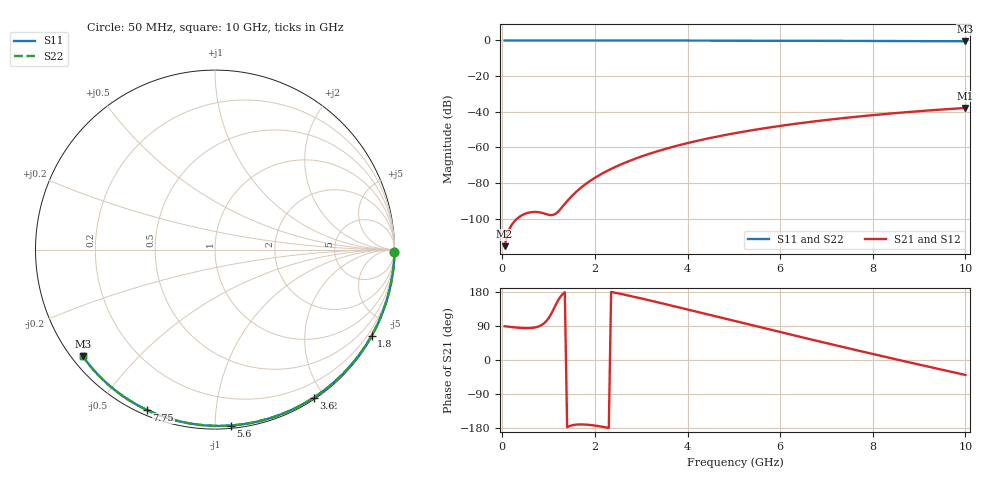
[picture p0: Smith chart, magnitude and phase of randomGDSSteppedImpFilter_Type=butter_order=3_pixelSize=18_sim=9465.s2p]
! freq	dB(S11)	phase(S11)	dB(S12)	phase(S12)
!  dB(S21)	phase(S21)	dB(S22)	phase(S22)
!S-par simulation data
#  GHz  S  DB  R 50
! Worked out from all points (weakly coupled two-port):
!   200 points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, 50 MHz to 10 GHz, reference 50 ohm
!   highest |S21| = -37.86 dB at 10 GHz (marker M1); lowest = -115.4 dB at 50 MHz (marker M2)
!   lowest |S11| = -0.5 dB at 10 GHz (marker M3), VSWR 36.38, Z = 1.55 - j17.6 ohm
!   |S11| at or under -10 dB: nowhere
!   |S22| runs from -0.5 to 0.0 dB; largest |S21 - S12| = 0
!   S11 on the Smith chart (normalised r, x): 50 MHz: open; 1.8 GHz: 0.03, -3.88; 3.6 GHz: 0.02, -1.87; 5.6 GHz: 0.02, -1.10; 7.75 GHz: 0.02, -0.66; 10 GHz: 0.03, -0.35
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0.05  -0.00 -0.8  -115.38 89.2  -115.38 89.2  -0.00 -0.8
0.45  -0.01 -7.3  -97.70 84.1  -97.70 84.1  -0.01 -7.3
0.9  -0.02 -14.6  -97.00 96.6  -97.00 96.6  -0.02 -14.6
1.75  -0.04 -28.1  -81.52 -170.1  -81.52 -170.1  -0.04 -28.1
1.8  -0.04 -28.9  -80.54 -170.4  -80.54 -170.4  -0.04 -28.9
1.85  -0.04 -29.7  -79.61 -170.9  -79.61 -170.9  -0.04 -29.7
2.05  -0.04 -32.8  -76.24 -173.9  -76.24 -173.9  -0.04 -32.8
2.25  -0.05 -35.9  -73.35 -178.0  -73.35 -178.0  -0.05 -35.9
2.55  -0.05 -40.5  -69.66 174.7  -69.66 174.7  -0.05 -40.5
2.95  -0.06 -46.6  -65.56 163.9  -65.56 163.9  -0.06 -46.6
3.4  -0.07 -53.4  -61.75 151.0  -61.75 151.0  -0.07 -53.4
3.6  -0.08 -56.4  -60.26 145.2  -60.26 145.2  -0.08 -56.4
4.3  -0.09 -66.6  -55.76 124.4  -55.76 124.4  -0.09 -66.6
5.05  -0.12 -77.2  -51.88 102.0  -51.88 102.0  -0.12 -77.2
5.6  -0.14 -84.8  -49.48 85.6  -49.48 85.6  -0.14 -84.8
6.15  -0.16 -92.2  -47.38 69.3  -47.38 69.3  -0.16 -92.2
6.7  -0.19 -99.5  -45.52 53.2  -45.52 53.2  -0.19 -99.5
7.2  -0.22 -106.0  -44.01 38.7  -44.01 38.7  -0.22 -106.0
7.75  -0.26 -113.0  -42.51 23.0  -42.51 23.0  -0.26 -113.0
8.35  -0.31 -120.6  -41.06 6.0  -41.06 6.0  -0.31 -120.6
9.2  -0.39 -131.2  -39.27 -17.6  -39.27 -17.6  -0.39 -131.2
10  -0.48 -141.2  -37.86 -39.3  -37.86 -39.3  -0.48 -141.2
